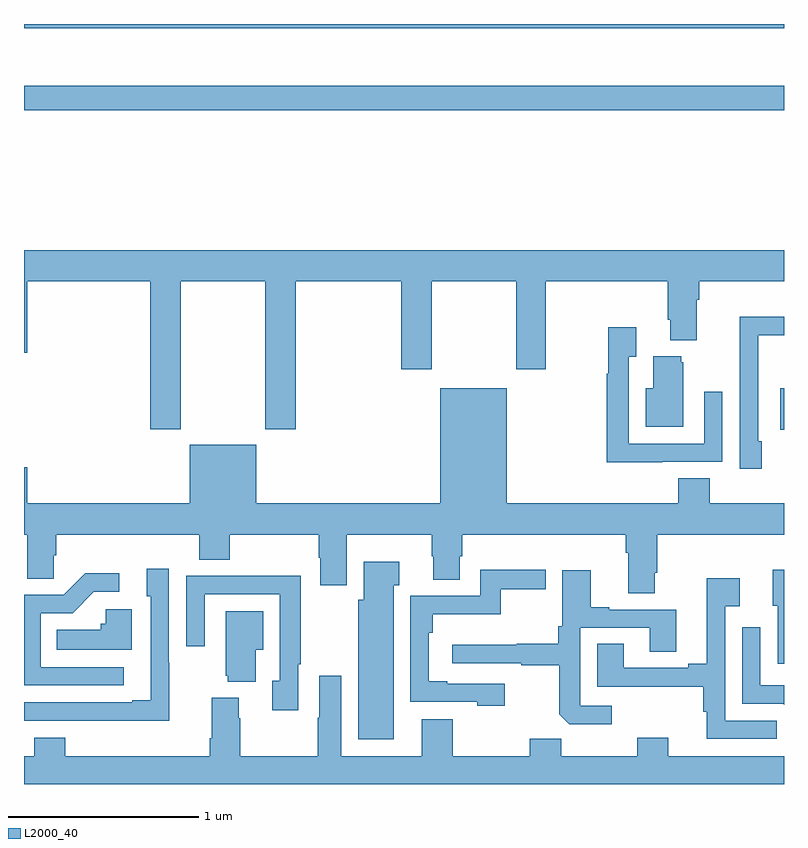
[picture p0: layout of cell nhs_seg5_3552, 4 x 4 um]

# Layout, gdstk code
import gdstk
lib = gdstk.Library(unit=1e-6, precision=1e-09)
def R(c, l, rs):  # rectangles x0, y0, x1, y1
    for r in rs: c.add(gdstk.rectangle(r[:2], r[2:], *l))
def P(c, l, *ps):  # polygons
    for p in ps: c.add(gdstk.Polygon(p, *l))
L2000_40 = (2000, 40)

nhs_seg5_3552 = lib.new_cell('nhs_seg5_3552')
R(nhs_seg5_3552, L2000_40, [(324.98,838.663,325,838.882), (321,840.346,325,840.475), (321,840.776,325,840.799)])
P(nhs_seg5_3552, L2000_40, [(321,839.07),(321.016,839.07),(321.016,839.444),(321.665,839.444),(321.665,838.665),(321.825,838.665),(321.825,839.444),(322.27,839.444),(322.27,838.665),(322.43,838.665),(322.43,839.444),(322.985,839.444),(322.985,838.983),(323.145,838.983),(323.145,839.444),(323.59,839.444),(323.59,838.983),(323.745,838.983),(323.745,839.444),(324.389,839.444),(324.389,839.242),(324.401,839.242),(324.401,839.135),(324.541,839.135),(324.541,839.348),(324.554,839.348),(324.554,839.444),(325,839.444),(325,839.608),(321,839.608)],
  [(324.883,838.602),(324.864,838.602),(324.864,839.16),(325,839.16),(325,839.258),(324.766,839.258),(324.766,838.951),(324.768,838.951),(324.768,838.458),(324.883,838.458)],
  [(324.359,838.494),(324.675,838.494),(324.675,838.864),(324.579,838.864),(324.579,838.59),(324.183,838.59),(324.183,839.047),(324.223,839.047),(324.223,839.203),(324.075,839.203),(324.075,838.958),(324.067,838.958),(324.067,838.493),(324.359,838.493)],
  [(324.469,839.019),(324.458,839.019),(324.458,839.05),(324.311,839.05),(324.311,838.882),(324.272,838.882),(324.272,838.679),(324.469,838.679)],
  [(322.222,838.585),(321.872,838.585),(321.872,838.276),(321.016,838.276),(321.016,838.465),(321,838.465),(321,838.112),(321.017,838.112),(321.017,837.88),(321.156,837.88),(321.156,838.003),(321.17,838.003),(321.17,838.112),(321.923,838.112),(321.923,837.979),(322.083,837.979),(322.083,838.112),(322.552,838.112),(322.552,837.991),(322.559,837.991),(322.559,837.846),(322.699,837.846),(322.699,838.112),(323.146,838.112),(323.146,837.999),(323.153,837.999),(323.153,837.874),(323.293,837.874),(323.293,837.999),(323.306,837.999),(323.306,838.112),(324.167,838.112),(324.167,838.016),(324.179,838.016),(324.179,837.802),(324.319,837.802),(324.319,837.91),(324.332,837.91),(324.332,838.112),(325,838.112),(325,838.276),(324.608,838.276),(324.608,838.409),(324.443,838.409),(324.443,838.276),(323.542,838.276),(323.542,838.882),(323.192,838.882),(323.192,838.276),(322.222,838.276)],
  [(322.945,837.845),(322.975,837.845),(322.975,837.97),(322.787,837.97),(322.787,837.768),(322.76,837.768),(322.76,837.035),(322.945,837.035)],
  [(321.765,837.437),(321.762,837.437),(321.762,837.931),(321.647,837.931),(321.647,837.786),(321.666,837.786),(321.666,837.241),(321.569,837.241),(321.569,837.228),(321,837.228),(321,837.132),(321.301,837.132),(321.301,837.131),(321.765,837.131)],
  [(323.53,837.327),(323.227,837.327),(323.227,837.34),(323.13,837.34),(323.13,837.596),(323.15,837.596),(323.15,837.692),(323.509,837.692),(323.509,837.823),(323.746,837.823),(323.746,837.926),(323.4,837.926),(323.4,837.789),(323.034,837.789),(323.034,837.231),(323.385,837.231),(323.385,837.212),(323.53,837.212)],
  [(325,837.926),(324.941,837.926),(324.941,837.738),(324.966,837.738),(324.966,837.432),(325,837.432)],
  [(324.094,837.21),(323.928,837.21),(323.928,837.621),(324.293,837.621),(324.293,837.496),(324.433,837.496),(324.433,837.717),(324.079,837.717),(324.079,837.73),(323.983,837.73),(323.983,837.925),(323.832,837.925),(323.832,837.628),(323.812,837.628),(323.812,837.536),(323.593,837.536),(323.593,837.532),(323.253,837.532),(323.253,837.435),(323.617,837.435),(323.617,837.423),(323.817,837.423),(323.817,837.165),(323.869,837.114),(324.094,837.114)],
  [(321.526,837.414),(321.087,837.414),(321.087,837.699),(321.256,837.699),(321.367,837.81),(321.502,837.81),(321.502,837.908),(321.323,837.908),(321.21,837.795),(321,837.795),(321,837.318),(321.526,837.318)],
  [(322.443,837.43),(322.456,837.43),(322.456,837.896),(322.171,837.896),(322.171,837.894),(321.855,837.894),(321.855,837.525),(321.951,837.525),(321.951,837.798),(322.347,837.798),(322.347,837.342),(322.307,837.342),(322.307,837.186),(322.443,837.186)],
  [(324.963,837.132),(324.69,837.132),(324.69,837.734),(324.766,837.734),(324.766,837.883),(324.593,837.883),(324.593,837.431),(324.497,837.431),(324.497,837.411),(324.157,837.411),(324.157,837.536),(324.017,837.536),(324.017,837.31),(324.574,837.31),(324.574,837.179),(324.593,837.179),(324.593,837.036),(324.963,837.036)],
  [(321.568,837.718),(321.429,837.718),(321.429,837.642),(321.403,837.642),(321.403,837.61),(321.172,837.61),(321.172,837.506),(321.568,837.506)],
  [(322.219,837.506),(322.258,837.506),(322.258,837.709),(322.061,837.709),(322.061,837.369),(322.073,837.369),(322.073,837.338),(322.219,837.338)],
  [(325,837.318),(324.876,837.318),(324.876,837.625),(324.78,837.625),(324.78,837.222),(324.993,837.222),(325,837.215)],
  [(325,836.944),(324.391,836.944),(324.391,837.043),(324.227,837.043),(324.227,836.944),(323.827,836.944),(323.827,837.037),(323.663,837.037),(323.663,836.944),(323.257,836.944),(323.257,837.139),(323.093,837.139),(323.093,836.944),(322.669,836.944),(322.669,837.37),(322.553,837.37),(322.553,837.149),(322.546,837.149),(322.546,836.944),(322.137,836.944),(322.137,837.146),(322.129,837.146),(322.129,837.253),(321.989,837.253),(321.989,837.04),(321.977,837.04),(321.977,836.944),(321.218,836.944),(321.218,837.043),(321.053,837.043),(321.053,836.944),(321,836.944),(321,836.799),(325,836.799)])

lib.write_gds('nhs_seg5_3552.gds')
